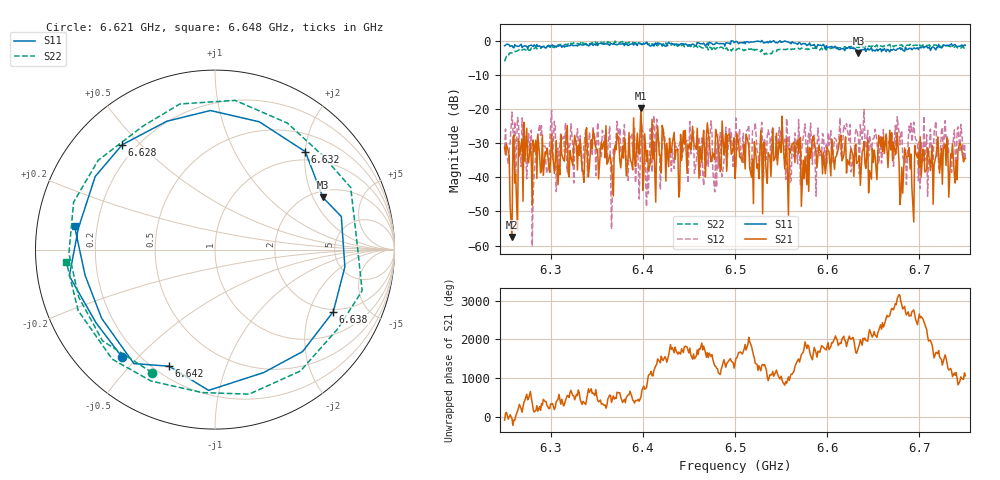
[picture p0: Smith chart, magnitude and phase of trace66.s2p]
# Hz S RI R 50
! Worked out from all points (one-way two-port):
!   401 points, 6.25 GHz to 6.75 GHz, reference 50 ohm
!   highest |S21| = -19.73 dB at 6.398 GHz (marker M1); lowest = -57.4 dB at 6.258 GHz (marker M2)
!   lowest |S11| = -3.5 dB at 6.634 GHz (marker M3), VSWR 5.02, Z = 114 + j119 ohm
!   |S11| at or under -10 dB: nowhere
!   |S22| runs from -6.0 to -0.1 dB; largest |S21 - S12| = 0.15
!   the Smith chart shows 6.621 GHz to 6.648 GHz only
!   S11 on the Smith chart (normalised r, x): 6.621 GHz: 0.14, -0.45; 6.628 GHz: 0.15, +0.44; 6.632 GHz: 0.82, +2.00; 6.638 GHz: 1.89, -2.93; 6.642 GHz: 0.26, -0.65; 6.648 GHz: 0.12, +0.08
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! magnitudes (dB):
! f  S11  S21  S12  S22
! 6.25 GHz  -1.4  -31.2  -31.5  -6.0
! 6.258 GHz  -1.4  -57.4  -20.9  -3.5
! 6.282 GHz  -1.2  -32.5  -39.3  -2.3
! 6.288 GHz  -1.5  -33.7  -24.4  -2.1
! 6.334 GHz  -1.2  -37.1  -38.2  -0.1
! 6.398 GHz  -0.8  -19.7  -27.4  -0.9
! 6.418 GHz  -0.9  -33.6  -31.7  -0.7
! 6.5 GHz  -0.4  -40.3  -31.9  -2.4
! 6.569 GHz  -0.5  -33.0  -23.1  -2.2
! 6.575 GHz  -0.9  -40.4  -26.9  -2.3
! 6.584 GHz  -1.2  -29.0  -36.2  -2.1
! 6.621 GHz  -2.0  -38.7  -24.3  -2.3
! 6.628 GHz  -2.2  -33.5  -35.4  -1.7
! 6.632 GHz  -2.6  -35.9  -25.7  -1.8
! 6.634 GHz  -3.5  -35.2  -28.8  -2.0
! 6.638 GHz  -2.6  -32.5  -28.9  -1.4
! 6.642 GHz  -3.1  -37.4  -31.6  -1.9
! 6.648 GHz  -2.0  -40.5  -32.0  -1.6
! 6.668 GHz  -3.2  -26.2  -30.7  -1.0
! 6.68 GHz  -2.5  -44.9  -27.0  -1.3
! 6.686 GHz  -2.6  -34.3  -42.1  -1.3
! 6.75 GHz  -1.3  -34.5  -34.5  -2.4
